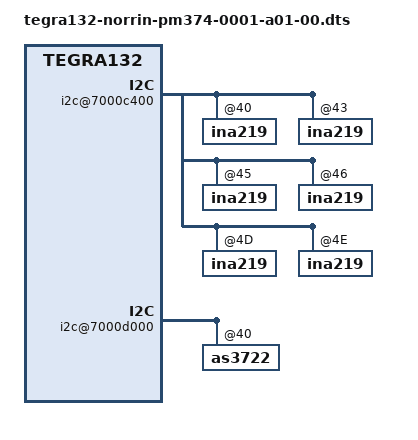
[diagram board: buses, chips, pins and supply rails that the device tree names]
/dts-v1/;

#include "tegra132-norrin-pm374-0001-common.dtsi"
#include "tegra132-platforms/tegra132-norrin-powermon-pm374-0001-a00-00.dtsi"

/ {
	nvidia,boardids = "374:0001:01";
	nvidia,dtsfilename = __FILE__;
	nvidia,proc-boardid = "374:0001:01";

	i2c@7000c400 {
		ina219@40{
			ti,shunt-resistor-mohm = <20>;
			ti,calibration-data = <0x346C>;
			ti,power-lsb = <3052>;
		};

		ina219@43{
			ti,shunt-resistor-mohm = <200>;
			ti,power-lsb = <62>;
		};

		ina219@45{
			ti,shunt-resistor-mohm = <1>;
			ti,power-lsb = <12500>;
		};

		ina219@46{
			ti,shunt-resistor-mohm = <1>;
			ti,calibration-data = <0xF9A6>;
			ti,power-lsb = <12818>;
		};

		ina219@4D{
			ti,shunt-resistor-mohm = <50>;
			ti,power-lsb = <250>;
		};

		ina219@4E{
			ti,shunt-resistor-mohm = <20>;
			ti,calibration-data = <0xFFFE>;
			ti,power-lsb = <625>;
		};
	};

	i2c@7000d000 {
		as3722@40 {
			ams,major-rev = <1>;
			ams,minor-rev = <2>;
		};
	};
};
